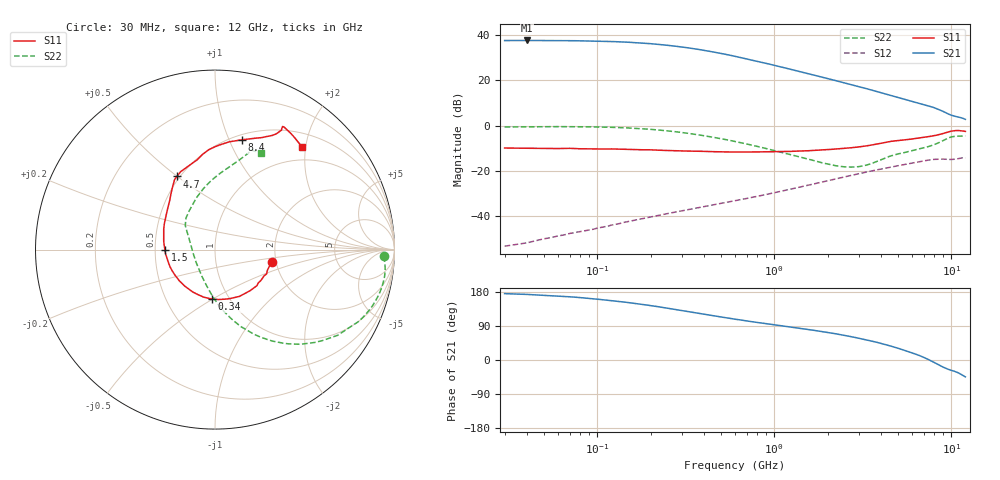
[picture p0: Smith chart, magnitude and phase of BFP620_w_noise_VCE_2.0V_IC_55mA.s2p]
! Infineon Technologies  Discrete & RF Semiconductors
! BFP620
! VCE =  2.0 V,  IC =  55 mA
! Common Emitter S-Parameters:  Nov 2015
# GHz  S  MA  R  50
!  f  S11  S21  S12  S22
! GHz  MAG  ANG  MAG  ANG  MAG  ANG  MAG  ANG
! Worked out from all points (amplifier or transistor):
!   239 points, 30 MHz to 12 GHz, reference 50 ohm
!   highest |S21| = 37.7 dB at 40 MHz (marker M1)
!   |S21| within 3 dB of that: start of sweep to 308.6 MHz
!   unconditionally stable (mu >= 1): 1.904 GHz to end of sweep
!   at 300 MHz: K = 0.50, MSG = 36.2 dB, |S12| = -37.5 dB
!   at 1.88 GHz: K = 1.00, MSG = 23.1 dB, |S12| = -24.8 dB
!   at 12 GHz: K = 1.08, MAG = 6.7 dB, |S12| = -14.2 dB
!   lowest NFmin = 1.59 dB at 450 MHz
!   S11 on the Smith chart (normalised r, x): 30 MHz: 1.89, -0.28; 340 MHz: 0.83, -0.50; 1.5 GHz: 0.56, +0.00; 4.7 GHz: 0.48, +0.50; 8.4 GHz: 0.55, +1.12; 12 GHz: 0.73, +1.93
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0.03  0.3225 -11.9  75.95 175.1  0.0022 99.4  0.94 -2.3
0.04  0.3188 -15.5  76.31 173.1  0.0026 93.7  0.9495 -4.5
0.07  0.3176 -25.4  75.69 166.8  0.0042 85.0  0.955 -11.2
0.085  0.3096 -29.5  74.66 163.6  0.0048 83.6  0.949 -14.3
0.115  0.3061 -39.2  72.77 157.7  0.0061 80.6  0.9282 -20.3
0.145  0.3018 -47.9  70.13 152.4  0.0075 78.2  0.8989 -25.8
0.19  0.2943 -59.8  65.67 145.2  0.0093 75.2  0.8445 -33.2
0.24  0.2856 -72.3  60.62 137.9  0.0112 73.1  0.7831 -40.4
0.3  0.279 -85.8  54.83 130.3  0.0133 71.1  0.711 -47.9
0.34  0.2755 -93.4  51.19 126.2  0.0146 70.3  0.6653 -52.1
0.45  0.2682 -111.1  42.62 116.7  0.0179 68.7  0.5582 -61.8
0.6  0.2641 -129.4  34.1 107.6  0.0221 67.6  0.4498 -71.7
0.7  0.2641 -138.8  29.86 102.9  0.0249 67.2  0.3943 -76.9
0.9  0.2664 -153.3  23.76 95.8  0.0304 66.4  0.3137 -85.8
1.1  0.2694 -164.0  19.68 90.2  0.0361 65.3  0.259 -93.3
1.5  0.279 179.9  14.61 81.5  0.0473 62.5  0.1901 -107.6
1.64  0.2842 175.1  13.38 78.9  0.0511 61.4  0.1733 -113.0
2.6  0.3224 149.9  8.444 63.2  0.0771 52.4  0.1232 -158.0
4.5  0.4505 120.0  4.737 37.1  0.1214 32.4  0.2134 141.0
4.7  0.4594 117.4  4.526 34.8  0.1253 30.3  0.2231 137.3
8.4  0.6299 76.2  2.32 -11.7  0.183 -9.6  0.4151 87.9
12  0.7506 49.9  1.383 -44.6  0.1945 -38.2  0.5991 64.5
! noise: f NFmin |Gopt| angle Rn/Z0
0.45  1.59  0.32  -166  0.1
0.9  1.61  0.35  -155  0.11
1.9  1.62  0.38  -139  0.13
2.4  1.63  0.38  -137  0.14
3.5  1.69  0.43  -106  0.25
5.5  1.98  0.45  -85  0.35
10  2.28  0.66  -42  1.31
